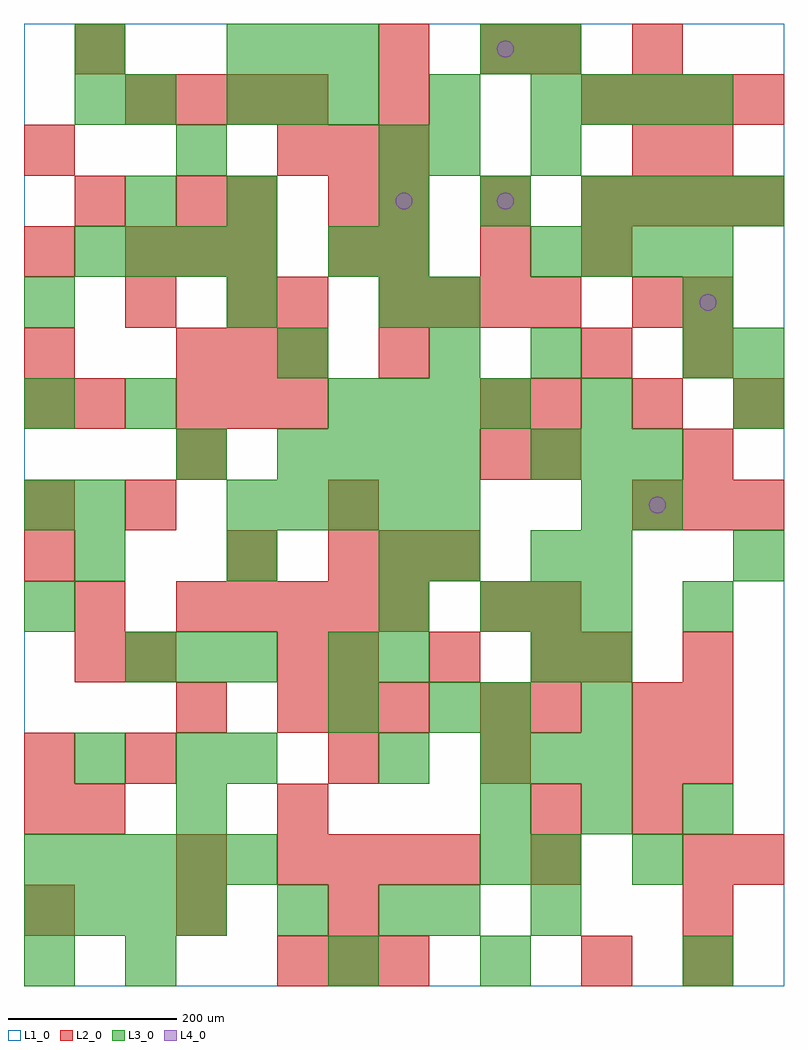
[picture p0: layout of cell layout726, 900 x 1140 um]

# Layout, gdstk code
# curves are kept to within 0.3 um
import gdstk
lib = gdstk.Library(unit=1e-6, precision=1e-09)
def R(c, l, rs):  # rectangles x0, y0, x1, y1
    for r in rs: c.add(gdstk.rectangle(r[:2], r[2:], *l))
def A(c, l, x, y, w, h, nx, ny, dx, dy):  # array of equal rectangles
    R(c, l, [(x+i*dx, y+j*dy, x+i*dx+w, y+j*dy+h) for i in range(nx) for j in range(ny)])
def P(c, l, *ps):  # polygons
    for p in ps: c.add(gdstk.Polygon(p, *l))
L1_0 = (1, 0)
L2_0 = (2, 0)
L3_0 = (3, 0)
L4_0 = (4, 0)

layout726 = lib.new_cell('layout726')
R(layout726, L1_0, [(0,0,900,1140)])
A(layout726, L2_0, 300, 0, 60, 60, 3, 2, 60, 300)
A(layout726, L2_0, 660, 0, 60, 60, 1, 3, 0, 360)
A(layout726, L2_0, 780, 0, 60, 60, 1, 3, 0, 60)
A(layout726, L2_0, 0, 60, 60, 60, 3, 1, 180, 0)
A(layout726, L2_0, 300, 120, 60, 60, 4, 1, 60, 0)
A(layout726, L2_0, 600, 180, 60, 60, 1, 3, 0, 120)
A(layout726, L2_0, 360, 240, 60, 60, 3, 1, 180, 0)
A(layout726, L2_0, 780, 240, 60, 60, 1, 3, 0, 60)
A(layout726, L2_0, 180, 300, 60, 60, 1, 3, 0, 300)
A(layout726, L2_0, 360, 360, 60, 60, 3, 1, 120, 0)
A(layout726, L2_0, 60, 420, 60, 60, 1, 3, 0, 240)
A(layout726, L2_0, 180, 420, 60, 60, 5, 1, 60, 0)
A(layout726, L2_0, 360, 480, 60, 60, 3, 1, 60, 0)
A(layout726, L2_0, 720, 540, 60, 60, 3, 2, 60, 360)
A(layout726, L2_0, 180, 660, 60, 60, 3, 2, 60, 60)
A(layout726, L2_0, 600, 660, 60, 60, 3, 1, 120, 0)
A(layout726, L2_0, 0, 720, 60, 60, 1, 3, 0, 120)
A(layout726, L2_0, 420, 780, 60, 60, 4, 1, 60, 0)
A(layout726, L2_0, 120, 840, 60, 60, 3, 1, 60, 0)
A(layout726, L2_0, 420, 840, 60, 60, 3, 2, 120, 60)
A(layout726, L2_0, 300, 960, 60, 60, 3, 1, 60, 0)
A(layout726, L2_0, 120, 1020, 60, 60, 4, 1, 60, 0)
A(layout726, L2_0, 660, 1020, 60, 60, 4, 1, 60, 0)
R(layout726, L2_0, [(180,120,240,180), (600,120,660,180), (840,120,900,180), (0,180,60,240), (60,180,120,240), (300,180,360,240), (720,180,780,240), (0,240,60,300), (120,240,180,300), (540,300,600,360), (720,300,780,360), (60,360,120,420), (120,360,180,420), (300,360,360,420), (540,420,600,480), (0,480,60,540), (240,480,300,540), (0,540,60,600), (120,540,180,600), (360,540,420,600), (540,600,600,660), (600,600,660,660), (780,600,840,660), (0,660,60,720), (540,660,600,720), (420,720,480,780), (780,720,840,780), (120,780,180,840), (240,780,300,840), (300,780,360,840), (720,780,780,840), (780,780,840,840), (360,840,420,900), (240,900,300,960), (360,900,420,960), (720,960,780,1020), (780,960,840,1020), (420,1020,480,1080), (60,1080,120,1140), (420,1080,480,1140), (540,1080,600,1140), (600,1080,660,1140), (720,1080,780,1140)])
A(layout726, L3_0, 0, 60, 60, 60, 4, 1, 60, 0)
A(layout726, L3_0, 0, 120, 60, 60, 5, 1, 60, 0)
A(layout726, L3_0, 540, 180, 60, 60, 3, 1, 120, 0)
A(layout726, L3_0, 180, 240, 60, 60, 1, 3, 0, 360)
A(layout726, L3_0, 540, 240, 60, 60, 3, 2, 60, 180)
A(layout726, L3_0, 120, 360, 60, 60, 3, 1, 60, 0)
A(layout726, L3_0, 0, 420, 60, 60, 1, 4, 0, 120)
A(layout726, L3_0, 60, 480, 60, 60, 3, 1, 180, 0)
A(layout726, L3_0, 600, 480, 60, 60, 1, 3, 0, 240)
A(layout726, L3_0, 240, 540, 60, 60, 5, 1, 60, 0)
A(layout726, L3_0, 300, 600, 60, 60, 4, 1, 60, 0)
A(layout726, L3_0, 600, 600, 60, 60, 3, 1, 60, 0)
A(layout726, L3_0, 360, 660, 60, 60, 4, 1, 60, 0)
A(layout726, L3_0, 60, 840, 60, 60, 4, 1, 60, 0)
A(layout726, L3_0, 600, 840, 60, 60, 4, 2, 60, 180)
A(layout726, L3_0, 420, 900, 60, 60, 3, 1, 120, 0)
A(layout726, L3_0, 720, 900, 60, 60, 3, 1, 60, 0)
A(layout726, L3_0, 240, 1020, 60, 60, 3, 2, 60, 60)
R(layout726, L3_0, [(0,0,60,60), (120,0,180,60), (360,0,420,60), (540,0,600,60), (780,0,840,60), (300,60,360,120), (420,60,480,120), (480,60,540,120), (600,60,660,120), (540,120,600,180), (600,120,660,180), (720,120,780,180), (180,180,240,240), (60,240,120,300), (240,240,300,300), (420,240,480,300), (360,300,420,360), (480,300,540,360), (540,300,600,360), (660,300,720,360), (360,360,420,420), (420,360,480,420), (600,360,660,420), (660,360,720,420), (420,420,480,480), (780,420,840,480), (480,480,540,540), (660,480,720,540), (840,480,900,540), (60,540,120,600), (660,540,720,600), (720,540,780,600), (120,660,180,720), (660,660,720,720), (840,660,900,720), (300,720,360,780), (480,720,540,780), (780,720,840,780), (840,720,900,780), (240,780,300,840), (420,780,480,840), (480,780,540,840), (780,780,840,840), (360,840,420,900), (420,840,480,900), (120,900,180,960), (240,900,300,960), (420,960,480,1020), (480,960,540,1020), (60,1020,120,1080), (120,1020,180,1080), (480,1020,540,1080), (60,1080,120,1140), (540,1080,600,1140), (600,1080,660,1140)])
P(layout726, L4_0, [(460,930),(459.239,933.827),(457.071,937.071),(453.827,939.239),(450,940),(446.173,939.239),(442.929,937.071),(440.761,933.827),(440,930),(440.761,926.173),(442.929,922.929),(446.173,920.761),(450,920),(453.827,920.761),(457.071,922.929),(459.239,926.173)],
  [(580,930),(579.239,933.827),(577.071,937.071),(573.827,939.239),(570,940),(566.173,939.239),(562.929,937.071),(560.761,933.827),(560,930),(560.761,926.173),(562.929,922.929),(566.173,920.761),(570,920),(573.827,920.761),(577.071,922.929),(579.239,926.173)],
  [(580,1110),(579.239,1113.827),(577.071,1117.071),(573.827,1119.239),(570,1120),(566.173,1119.239),(562.929,1117.071),(560.761,1113.827),(560,1110),(560.761,1106.173),(562.929,1102.929),(566.173,1100.761),(570,1100),(573.827,1100.761),(577.071,1102.929),(579.239,1106.173)],
  [(760,570),(759.239,573.827),(757.071,577.071),(753.827,579.239),(750,580),(746.173,579.239),(742.929,577.071),(740.761,573.827),(740,570),(740.761,566.173),(742.929,562.929),(746.173,560.761),(750,560),(753.827,560.761),(757.071,562.929),(759.239,566.173)],
  [(820,810),(819.239,813.827),(817.071,817.071),(813.827,819.239),(810,820),(806.173,819.239),(802.929,817.071),(800.761,813.827),(800,810),(800.761,806.173),(802.929,802.929),(806.173,800.761),(810,800),(813.827,800.761),(817.071,802.929),(819.239,806.173)])

lib.write_gds('layout726.gds')
